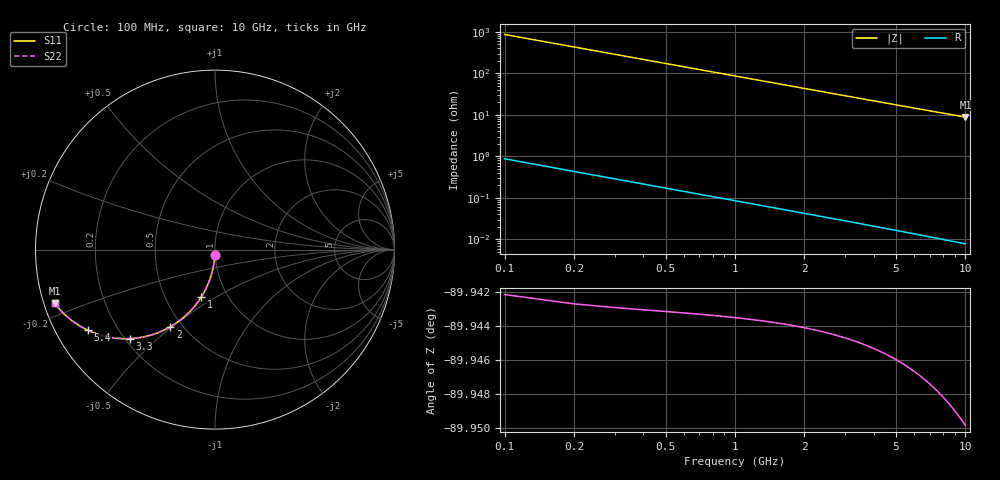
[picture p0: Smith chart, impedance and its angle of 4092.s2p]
# Hz S RI R 50.00
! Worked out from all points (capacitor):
!   100 points, 100 MHz to 10 GHz, reference 50 ohm
!   read as one part in shunt: C = 1.83 pF near 100 MHz
!   lowest |Z| = 8.89 ohm at 10 GHz (marker M1)
!   S11 on the Smith chart (normalised r, x): 100 MHz: 1.00, -0.06; 1 GHz: 0.75, -0.43; 2 GHz: 0.43, -0.49; 3.3 GHz: 0.22, -0.41; 5.4 GHz: 0.10, -0.29; 10 GHz: 0.03, -0.16
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1e8  -0.000812 -0.0287  0.9991 -0.0288  0.9991 -0.0288  -0.000812 -0.0287
2e8  -0.00331 -0.0572  0.9966 -0.0575  0.9966 -0.0575  -0.00331 -0.0572
3e8  -0.00744 -0.0854  0.9925 -0.0859  0.9925 -0.0859  -0.00744 -0.0854
4e8  -0.0131 -0.1132  0.9868 -0.1139  0.9868 -0.1139  -0.0131 -0.1132
5e8  -0.0204 -0.1405  0.9795 -0.1414  0.9795 -0.1414  -0.0204 -0.1405
6e8  -0.0291 -0.1671  0.9708 -0.1681  0.9708 -0.1681  -0.0291 -0.1671
7e8  -0.0391 -0.1929  0.9608 -0.1941  0.9608 -0.1941  -0.0391 -0.1929
8e8  -0.0505 -0.2178  0.9494 -0.2192  0.9494 -0.2192  -0.0505 -0.2178
1e9  -0.0766 -0.2647  0.9233 -0.2665  0.9233 -0.2665  -0.0766 -0.2647
1.2e9  -0.1067 -0.3073  0.8932 -0.3094  0.8932 -0.3094  -0.1067 -0.3073
1.4e9  -0.1398 -0.3451  0.8601 -0.3476  0.8601 -0.3476  -0.1398 -0.3451
1.8e9  -0.2117 -0.4064  0.7882 -0.4096  0.7882 -0.4096  -0.2117 -0.4064
2e9  -0.2489 -0.4302  0.751 -0.4337  0.751 -0.4337  -0.2489 -0.4302
2.6e9  -0.3588 -0.4769  0.6411 -0.4814  0.6411 -0.4814  -0.3588 -0.4769
3.3e9  -0.474 -0.4959  0.5259 -0.5017  0.5259 -0.5017  -0.474 -0.4959
3.4e9  -0.4889 -0.4964  0.511 -0.5024  0.511 -0.5024  -0.4889 -0.4964
4.2e9  -0.5933 -0.487  0.4066 -0.4944  0.4066 -0.4944  -0.5933 -0.487
5.1e9  -0.6826 -0.4604  0.3173 -0.4694  0.3173 -0.4694  -0.6826 -0.4604
5.4e9  -0.7068 -0.4499  0.293 -0.4594  0.293 -0.4594  -0.7068 -0.4499
6.7e9  -0.7878 -0.4024  0.212 -0.4142  0.212 -0.4142  -0.7878 -0.4024
8.4e9  -0.8538 -0.3452  0.146 -0.3601  0.146 -0.3601  -0.8538 -0.3452
1e10  -0.8924 -0.3002  0.1073 -0.3181  0.1073 -0.3181  -0.8924 -0.3002
